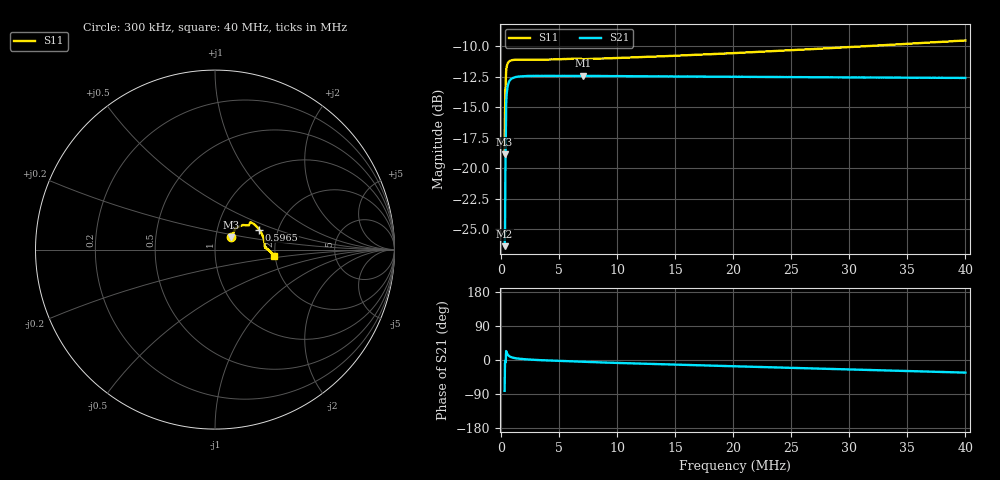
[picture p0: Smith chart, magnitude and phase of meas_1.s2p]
# HZ S RI R 50
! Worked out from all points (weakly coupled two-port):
!   1206 points, 300 kHz to 40 MHz, reference 50 ohm
!   highest |S21| = -12.43 dB at 7.087 MHz (marker M1); lowest = -26.4 dB at 300 kHz (marker M2)
!   lowest |S11| = -18.8 dB at 300 kHz (marker M3), VSWR 1.26, Z = 59.5 + j8.22 ohm
!   |S11| at or under -10 dB: start of sweep to 31.48 MHz; 31.54167 MHz to 31.59035 MHz (48.68 kHz wide, 0.154 % of centre)
!   S12 and S22 are empty: the file has one direction only
!   S11 on the Smith chart (normalised r, x): 300 kHz: 1.19, +0.16; 596.5 kHz: 1.60, +0.38; 40 MHz: 1.98, -0.17
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300000  0.0916 0.0682  0.00723 -0.0475  0 0  0 0
398838  0.1874 0.1343  0.1246 -0.0128  0 0  0 0
530622  0.2348 0.1256  0.204 0.0582  0 0  0 0
563568  0.2415 0.118  0.2101 0.0536  0 0  0 0
596514  0.2465 0.1115  0.2146 0.0498  0 0  0 0
629460  0.2507 0.1055  0.2181 0.0462  0 0  0 0
662406  0.2541 0.0998  0.2209 0.0434  0 0  0 0
761244  0.2613 0.0866  0.2265 0.0361  0 0  0 0
860082  0.2656 0.0765  0.23 0.0311  0 0  0 0
1057758  0.2707 0.0617  0.2335 0.0237  0 0  0 0
1321326  0.2736 0.0492  0.2359 0.0176  0 0  0 0
1980246  0.2761 0.0328  0.238 0.00854  0 0  0 0
2705058  0.2768 0.0246  0.2386 0.00261  0 0  0 0
3759330  0.2776 0.0186  0.2389 -0.00396  0 0  0 0
6197334  0.2806 0.0122  0.2382 -0.0152  0 0  0 0
6922146  0.2791 0.0145  0.238 -0.0198  0 0  0 0
7086876  0.2791 0.0141  0.2381 -0.0204  0 0  0 0
1.354429e7  0.2868 0.00652  0.2337 -0.0449  0 0  0 0
2.016644e7  0.2962 -0.00109  0.2269 -0.0678  0 0  0 0
2.678858e7  0.3071 -0.0105  0.2184 -0.0893  0 0  0 0
3.341073e7  0.3193 -0.0226  0.208 -0.1097  0 0  0 0
3.999993e7  0.3314 -0.0371  0.1958 -0.1286  0 0  0 0
